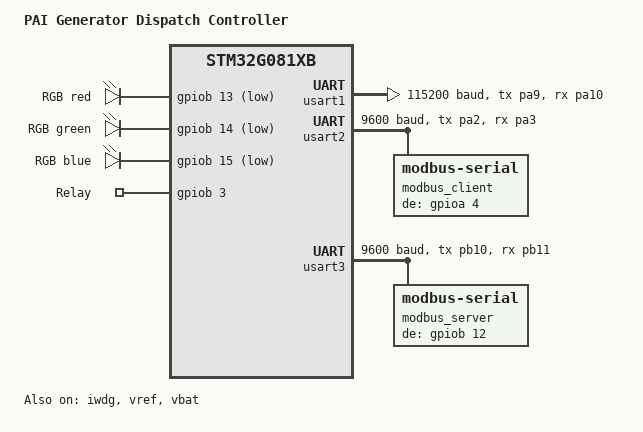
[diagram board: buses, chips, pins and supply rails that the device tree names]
/*
 * Copyright 2021 The Chromium OS Authors
 *
 * SPDX-License-Identifier: Apache-2.0
 */

/dts-v1/;
#include <st/g0/stm32g081Xb.dtsi>
#include <st/g0/stm32g081cbtx-pinctrl.dtsi>
#include <zephyr/dt-bindings/gpio/gpio.h>

/ {
	model = "PAI Generator Dispatch Controller";
	compatible = "pai,gdc";

	chosen {
		zephyr,console = &usart1;
		zephyr,shell-uart = &usart1;
		zephyr,sram = &sram0;
		zephyr,flash = &flash0;
	};

	leds {
		compatible = "gpio-leds";

		led_red: led-red {
			gpios = <&gpiob 13 GPIO_ACTIVE_LOW>;
			label = "RGB red";
		};

		led_green: led-green {
			gpios = <&gpiob 14 GPIO_ACTIVE_LOW>;
			label = "RGB green";
		};

		led_blue: led-blue {
			gpios = <&gpiob 15 GPIO_ACTIVE_LOW>;
			label = "RGB blue";
		};
	};

	relays {
		compatible = "gpio-leds";

		relay_0: relay-0 {
			gpios = <&gpiob 3 GPIO_ACTIVE_HIGH>;
			label = "Relay";
		};
	};

	aliases {
		relay = &relay_0;
		led = &led_green;
		led0 = &led_red;
		led1 = &led_green;
		led2 = &led_blue;
		watchdog0 = &iwdg;
		volt-sensor0 = &vref;
		volt-sensor1 = &vbat;
		modbus-server = &modbus_server;
		modbus-client = &modbus_client;
	};
};

&clk_hsi {
	status = "okay";
};

&pll {
	div-m = <1>;
	mul-n = <8>;
	div-p = <2>;
	div-q = <2>;
	div-r = <2>;
	clocks = <&clk_hsi>;
	status = "okay";
};

&rcc {
	clocks = <&pll>;
	clock-frequency = <DT_FREQ_M(64)>;
	ahb-prescaler = <1>;
	apb1-prescaler = <1>;
};

&usart1 {
	pinctrl-0 = <&usart1_tx_pa9 &usart1_rx_pa10>;
	pinctrl-names = "default";
	current-speed = <115200>;
	status = "okay";
};

&usart2 {
	pinctrl-0 = <&usart2_tx_pa2 &usart2_rx_pa3>;
	pinctrl-names = "default";
	current-speed = <9600>;
	status = "okay";

	modbus_client: modbus-client {
		status = "okay";
		compatible = "zephyr,modbus-serial";
		de-gpios = <&gpioa 4 GPIO_ACTIVE_HIGH>;
	};
};

&usart3 {
	pinctrl-0 = <&usart3_tx_pb10 &usart3_rx_pb11>;
	pinctrl-names = "default";
	current-speed = <9600>;
	status = "okay";

	modbus_server: modbus-server {
		status = "okay";
		compatible = "zephyr,modbus-serial";
		de-gpios = <&gpiob 12 GPIO_ACTIVE_HIGH>;
	};
};

&iwdg {
	status = "okay";
};

&vref {
	status = "okay";
};

&vbat {
	status = "okay";
};
